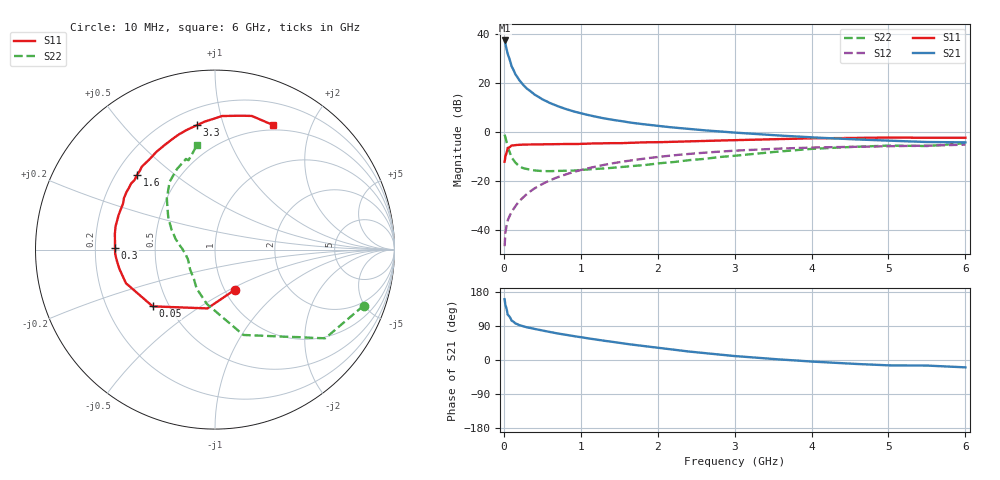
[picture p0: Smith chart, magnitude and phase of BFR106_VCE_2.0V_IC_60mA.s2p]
! Infineon Technologies  Discrete & RF Semiconductors
! BFR106
! VCE =  2.0 V,  IC =  60 mA
! Common Emitter S-Parameters:  Nov 2015
# GHz  S  MA  R  50
!  f  S11  S21  S12  S22
! GHz  MAG  ANG  MAG  ANG  MAG  ANG  MAG  ANG
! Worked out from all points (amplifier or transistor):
!   210 points, 10 MHz to 6 GHz, reference 50 ohm
!   highest |S21| = 37.2 dB at 10 MHz (marker M1)
!   |S21| within 3 dB of that: start of sweep to 32.86 MHz
!   unconditionally stable (mu >= 1): 210 MHz to 2.748 GHz; 5.138 GHz to end of sweep
!   at 185 MHz: K = 0.97, MSG = 25.3 dB, |S12| = -28.7 dB
!   at 1.52 GHz: K = 1.06, MAG = 6.8 dB, |S12| = -12.2 dB
!   at 6 GHz: K = 1.01, MAG = -0.1 dB, |S12| = -5.1 dB
!   S11 on the Smith chart (normalised r, x): 10 MHz: 1.12, -0.53; 50 MHz: 0.41, -0.33; 300 MHz: 0.28, +0.01; 1.6 GHz: 0.29, +0.37; 3.3 GHz: 0.30, +0.82; 6 GHz: 0.44, +1.47
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0.01  0.2495 -63.2  72.48 160.5  0.0048 78.1  0.8853 -20.6
0.02  0.3305 -97.4  62.76 145.3  0.009 67.5  0.7885 -38.8
0.05  0.4697 -137.7  38.71 119.7  0.0159 59.9  0.5013 -71.6
0.1  0.5302 -159.3  21.82 104.0  0.0236 62.3  0.3059 -98.6
0.15  0.5435 -168.6  14.91 96.5  0.0311 65.6  0.2399 -115.3
0.2  0.5509 -173.9  11.36 92.1  0.0391 69.1  0.2026 -125.3
0.24  0.5557 -176.9  9.53 89.5  0.0453 69.9  0.1879 -133.0
0.26  0.5569 -178.3  8.782 88.3  0.0485 70.3  0.1832 -136.3
0.3  0.557 179.1  7.61 86.2  0.0549 71.1  0.1774 -141.3
0.4  0.5593 174.6  5.755 81.8  0.0718 71.7  0.1661 -151.1
0.5  0.5651 170.8  4.625 77.7  0.0878 71.5  0.1609 -157.7
0.6  0.569 166.7  3.879 73.7  0.1046 70.9  0.1603 -161.7
0.8  0.5706 160.5  2.951 66.7  0.1369 68.1  0.1643 -169.5
1.02  0.575 152.7  2.362 59.6  0.1719 65.0  0.1697 -174.9
1.3  0.5895 144.6  1.898 50.9  0.2147 60.3  0.1812 178.5
1.6  0.6009 136.3  1.591 42.4  0.2578 55.4  0.1993 172.5
2.02  0.6219 125.8  1.322 31.7  0.3135 48.1  0.2315 163.6
3.1  0.6895 101.6  0.951 9.0  0.4252 30.1  0.341 140.6
3.3  0.7009 98.1  0.906 5.8  0.4407 27.0  0.3657 136.6
4.1  0.7466 85.7  0.766 -5.2  0.4874 15.2  0.4621 122.0
5.1  0.7704 73.5  0.659 -14.2  0.5183 3.5  0.5282 107.5
6  0.7666 65.2  0.617 -19.4  0.5545 -5.5  0.5933 99.5
